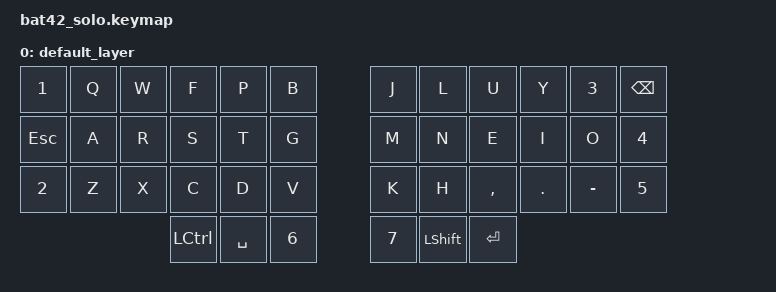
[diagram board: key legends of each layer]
#include <behaviors.dtsi>
#include <dt-bindings/zmk/keys.h>
#include <dt-bindings/zmk/bt.h>

/ {
    keymap {
        compatible = "zmk,keymap";

        default_layer {
            bindings = <
            &kp N1   &kp Q  &kp W  &kp F     &kp P     &kp B     &kp J  &kp L     &kp U     &kp Y      &kp N3    &kp BSPC
            &kp ESC  &kp A  &kp R  &kp S     &kp T     &kp G     &kp M  &kp N     &kp E     &kp I      &kp O     &kp N4
            &kp N2   &kp Z  &kp X  &kp C     &kp D     &kp V     &kp K  &kp H     &kp COMMA &kp PERIOD &kp MINUS &kp N5
                                   &kp LCTRL &kp SPACE &kp N6    &kp N7 &kp LSHFT &kp ENTER
            >;
        };
    };
};
